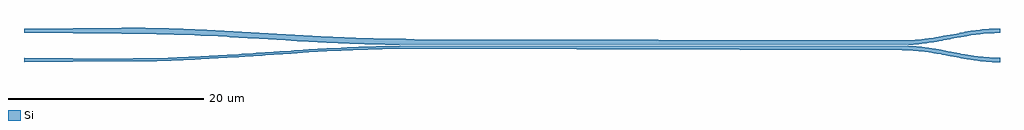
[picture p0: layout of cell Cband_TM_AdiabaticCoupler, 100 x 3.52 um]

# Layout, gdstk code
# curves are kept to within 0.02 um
import gdstk
lib = gdstk.Library(unit=1e-6, precision=1e-09)
def P(c, l, *ps):  # polygons
    for p in ps: c.add(gdstk.Polygon(p, *l))
Si = (1, 0)

cband_tm_adiabaticcouple = lib.new_cell('Cband_TM_AdiabaticCoupler')
P(cband_tm_adiabaticcouple, Si, [(39.7,0.05),(36.1,0.097),(32.2,0.231),(20.8,0.87),(16.6,1.068),(13.6,1.16),(10,1.2),(10,1.8),(13.306,1.766),(16.611,1.668),(20.816,1.47),(32.213,0.831),(36.406,0.69),(40,0.65),(40,0.05)],
  [(10,-1.65),(10,-1.35),(13.3,-1.312),(16.3,-1.214),(20.8,-0.977),(29.2,-0.423),(32.5,-0.24),(36.1,-0.103),(40,-0.05),(40,-0.35),(36.7,-0.388),(33.7,-0.486),(29.2,-0.723),(20.8,-1.277),(17.5,-1.46),(13.9,-1.597)],
  [(90,0.05),(90,0.5),(91.1,0.536),(92.3,0.653),(93.5,0.834),(96.3,1.356),(97.5,1.546),(98.7,1.675),(100,1.725),(100,1.275),(98.9,1.239),(97.7,1.122),(96.5,0.941),(93.7,0.419),(92.5,0.229),(91.3,0.1)],
  [(99.9,-1.725),(98.7,-1.675),(97.3,-1.518),(93.5,-0.834),(92.3,-0.653),(91.1,-0.536),(90,-0.5),(90,-0.05),(91.1,-0.086),(92.3,-0.203),(93.5,-0.384),(96.3,-0.906),(97.5,-1.096),(98.7,-1.225),(100,-1.275),(100,-1.725)],
  [(10,1.2),(0,1.275),(0,1.725),(10,1.8)],
  [(0,-1.725),(0,-1.275),(10,-1.35),(10,-1.65)],
  [(40,0.05),(40,0.65),(90,0.5),(90,0.05)],
  [(90,-0.5),(40,-0.35),(40,-0.05),(90,-0.05)])

lib.write_gds('Cband_TM_AdiabaticCoupler.gds')
